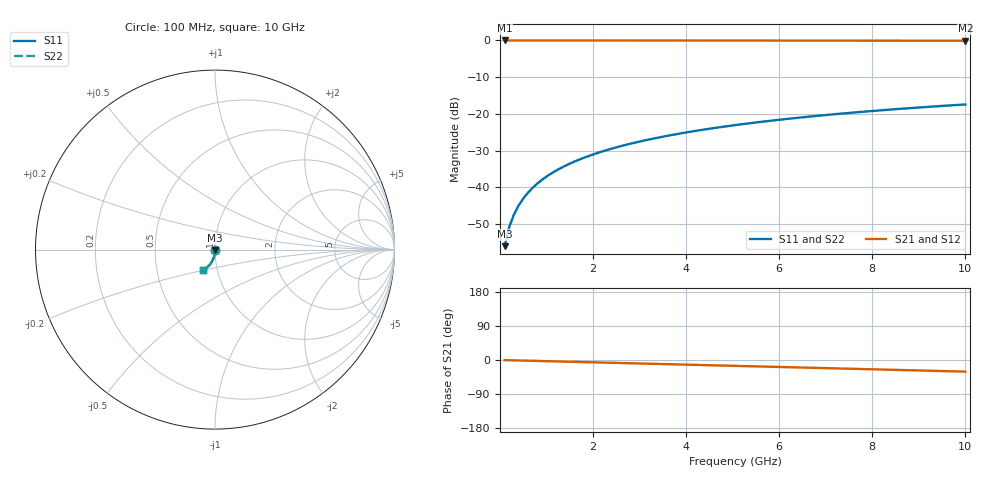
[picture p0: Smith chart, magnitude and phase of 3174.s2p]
# Hz S RI R 50.00
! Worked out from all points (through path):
!   100 points, 100 MHz to 10 GHz, reference 50 ohm
!   highest |S21| = -0.01 dB at 100 MHz (marker M1); lowest = -0.1 dB at 10 GHz (marker M2)
!   group delay of S21, straight-line fit = 8.53 ps
!   lowest |S11| = -56.0 dB at 100 MHz (marker M3), VSWR 1.00, Z = 50.1 - j0.141 ohm
!   |S11| at or under -10 dB: start of sweep to end of sweep
!   |S22| runs from -56.0 to -17.4 dB; largest |S21 - S12| = 0
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1e8  0.000738 -0.00141  0.9992 -0.00533  0.9992 -0.00533  0.000738 -0.00141
2e8  0.000717 -0.00282  0.9992 -0.0107  0.9992 -0.0107  0.000717 -0.00282
3e8  0.00068 -0.00423  0.9991 -0.016  0.9991 -0.016  0.00068 -0.00423
4e8  0.000628 -0.00563  0.999 -0.0213  0.999 -0.0213  0.000628 -0.00563
5e8  0.00056 -0.00704  0.9988 -0.0266  0.9988 -0.0266  0.00056 -0.00704
6e8  0.000476 -0.00845  0.9987 -0.032  0.9987 -0.032  0.000476 -0.00845
7e8  0.000378 -0.00986  0.9985 -0.0373  0.9985 -0.0373  0.000378 -0.00986
8e8  0.000264 -0.0113  0.9982 -0.0426  0.9982 -0.0426  0.000264 -0.0113
9e8  0.000135 -0.0127  0.998 -0.0479  0.998 -0.0479  0.000135 -0.0127
1.1e9  -0.000168 -0.0155  0.9973 -0.0586  0.9973 -0.0586  -0.000168 -0.0155
1.4e9  -0.000735 -0.0197  0.9962 -0.0745  0.9962 -0.0745  -0.000735 -0.0197
1.8e9  -0.0017 -0.0252  0.9942 -0.0958  0.9942 -0.0958  -0.0017 -0.0252
2.1e9  -0.00258 -0.0294  0.9924 -0.1117  0.9924 -0.1117  -0.00258 -0.0294
2.5e9  -0.00396 -0.0349  0.9896 -0.1329  0.9896 -0.1329  -0.00396 -0.0349
2.9e9  -0.00558 -0.0403  0.9863 -0.154  0.9863 -0.154  -0.00558 -0.0403
3.4e9  -0.00793 -0.047  0.9815 -0.1802  0.9815 -0.1802  -0.00793 -0.047
4.2e9  -0.0124 -0.0574  0.9723 -0.2219  0.9723 -0.2219  -0.0124 -0.0574
5.1e9  -0.0185 -0.0687  0.9597 -0.2683  0.9597 -0.2683  -0.0185 -0.0687
5.9e9  -0.0248 -0.0781  0.9464 -0.309  0.9464 -0.309  -0.0248 -0.0781
6.7e9  -0.0319 -0.087  0.9314 -0.3489  0.9314 -0.3489  -0.0319 -0.087
8.4e9  -0.0494 -0.1037  0.8936 -0.4313  0.8936 -0.4313  -0.0494 -0.1037
1e10  -0.0682 -0.1161  0.8511 -0.505  0.8511 -0.505  -0.0682 -0.1161
